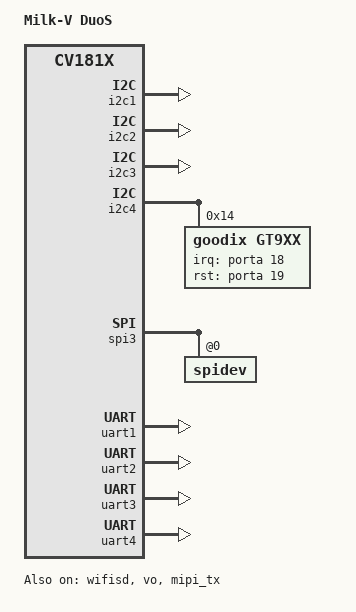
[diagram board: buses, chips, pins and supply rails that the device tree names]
/dts-v1/;
#include "cv181x_base_riscv.dtsi"
#include "cv181x_asic_bga.dtsi"
#include "cv181x_asic_emmc.dtsi"
#include "cv181x_default_memmap.dtsi"

&mipi_rx{
	snsr-reset = <&porta 2 GPIO_ACTIVE_LOW>, <&porta 2 GPIO_ACTIVE_LOW>, <&porta 2 GPIO_ACTIVE_LOW>;
};

&dac{
	/delete-property/ mute-gpio-l;
	/delete-property/ mute-gpio-r;
};

&i2c0 {
	status = "disabled";
};

&i2c1 {
	status = "okay";
};

&i2c2 {
	status = "okay";
};

&i2c3 {
	status = "okay";
};

&i2c4 {
	status = "okay";

	gt9xx: gt9xx@14 {
		compatible = "goodix,gt9xx";
		reg = <0x14>;
		goodix,irq-gpio = <&porta 18 0>;
		goodix,rst-gpio = <&porta 19 GPIO_ACTIVE_HIGH>;
		status = "okay";
	};
};

&spi3 {
	status = "okay";

	spidev@0 {
		status = "okay";
	};
};

&usb {
	vbus-gpio = <&portb 6 0>;
};

&wifisd {
	status = "okay";
	cap-sd-highspeed;
	sd-uhs-sdr25;
	sd-uhs-ddr50;
	sd-uhs-sdr104;
	min-frequency = <400000>;
	max-frequency = <187500000>;
};

&wifi_pin {
	compatible = "cvitek,wifi-pin";
	poweron-gpio = <&porta 15 GPIO_ACTIVE_HIGH>;
	wakeup-gpio = <&porte 7 GPIO_ACTIVE_HIGH>;
};

&uart1 {
	status = "okay";
};

&uart2 {
	status = "okay";
};

&uart3 {
	status = "okay";
};

&uart4 {
	status = "okay";
};

/* mipi dsi for u-boot */
&vo {
	compatible = "cvitek,vo";
	reset-gpio = <&porte 2 GPIO_ACTIVE_LOW>;
	pwm-gpio = <&porte 0 GPIO_ACTIVE_HIGH>;
	power-gpio = <&porte 1 GPIO_ACTIVE_HIGH>;
	status = "okay";
};

/* mipi dsi for kernel */
&mipi_tx {
	compatible = "cvitek,mipi_tx";
	reset-gpio = <&porte 2 GPIO_ACTIVE_LOW>;
	pwm-gpio = <&porte 0 GPIO_ACTIVE_HIGH>;
	power-ct-gpio = <&porte 1 GPIO_ACTIVE_HIGH>;
	status = "okay";
};

/ {
	model = "Milk-V DuoS";
};

